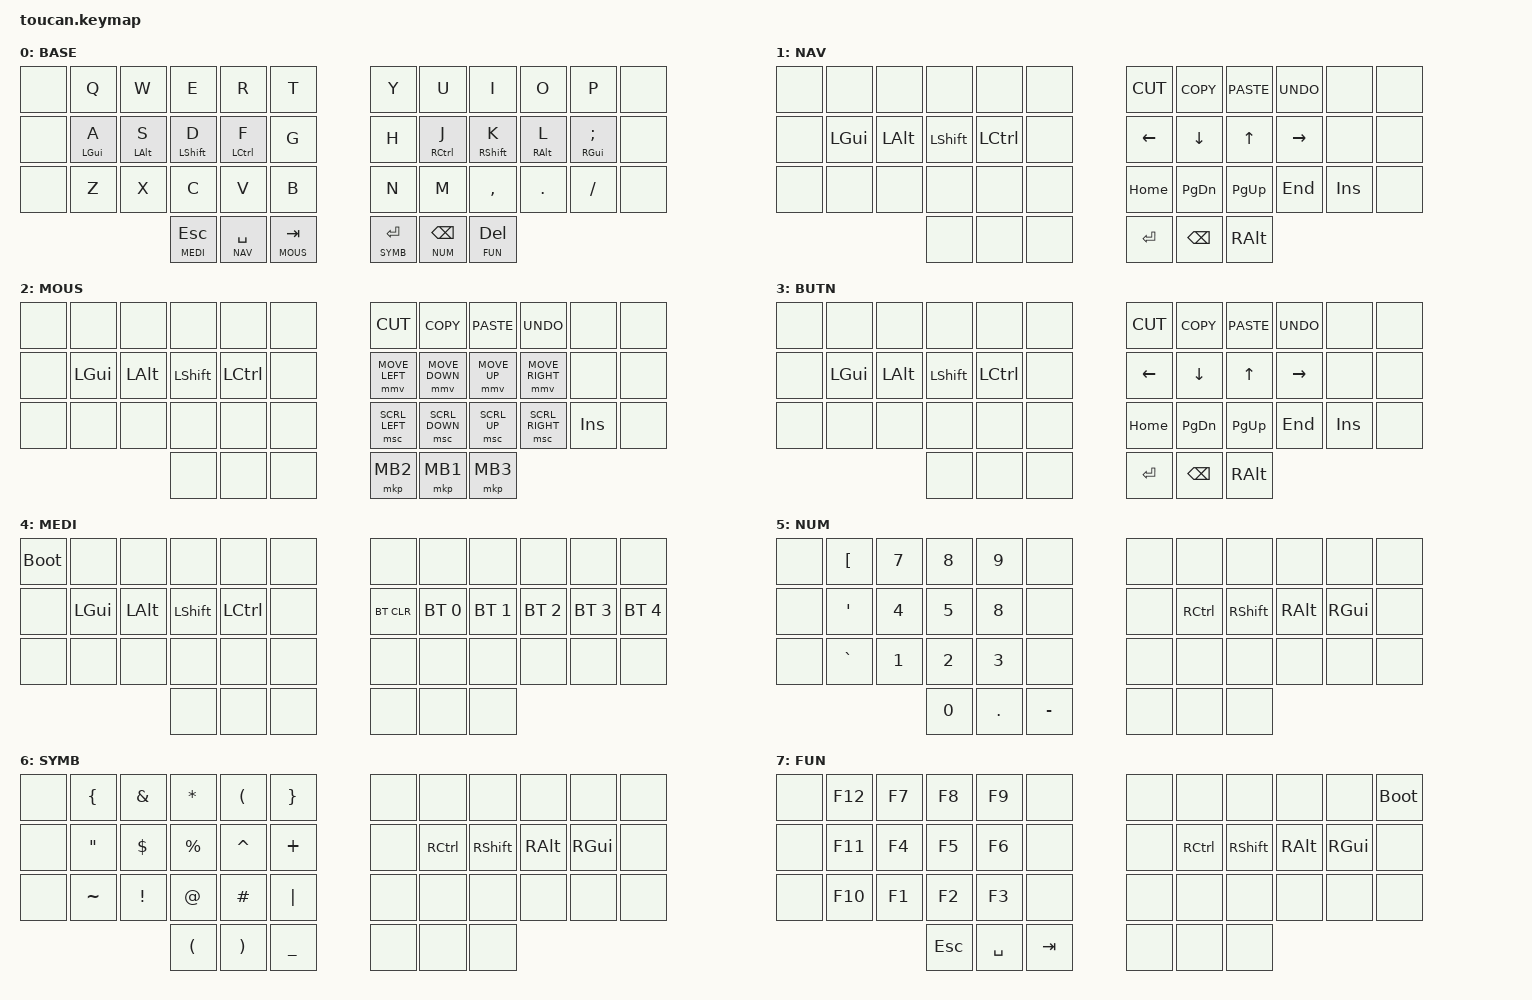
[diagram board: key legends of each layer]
#include <behaviors.dtsi>
#include <dt-bindings/zmk/keys.h>
#include <dt-bindings/zmk/bt.h>
#include <dt-bindings/zmk/outputs.h>
#include <dt-bindings/zmk/pointing.h>y

#define BASE 0
#define NAV  1
#define MOUS 2
#define BUTN 3
#define MEDI 4
#define NUM  5
#define SYMB 6
#define FUN  7

#define _______ &none

#define MY_AGUI &mt LGUI   A
#define MY_SALT &mt LALT   S
#define MY_DSFT &mt LSHIFT D
#define MY_FCTL &mt LCTRL  F

#define MY_JCTL &mt RCTRL  J
#define MY_KSFT &mt RSHIFT K
#define MY_LALT &mt RALT   L
#define MY_CGUI &mt RGUI   SEMICOLON

#define TG_MEDI &lt MEDI ESCAPE 
#define TG_NAV  &lt NAV  SPACE 
#define TG_MOUS &lt MOUS TAB 

#define TG_SYMB &lt SYMB ENTER 
#define TG_NUM  &lt NUM  BACKSPACE
#define TG_FUN  &lt FUN  DELETE 

#define TG_BUTN &lt BUTN KC_Z   

/ {
    conditional_layers {
        compatible = "zmk,conditional-layers";
        tri_layer {
            if-layers = <1 2>;
            then-layer = <3>;
        };
    };

    keymap {
        compatible = "zmk,keymap";

        base {
            display-name = "BASE";
            bindings = <
                _______  &kp   Q  &kp   W  &kp   E  &kp   R   &kp T        &kp Y   &kp   U  &kp     I  &kp   O  &kp    P  _______
                _______  MY_AGUI  MY_SALT  MY_DSFT  MY_FCTL   &kp G        &kp H   MY_JCTL    MY_KSFT  MY_LALT   MY_CGUI  _______
                _______  &kp   Z  &kp   X  &kp   C  &kp   V   &kp B        &kp N   &kp   M  &kp COMMA  &kp DOT  &kp FSLH  _______
                                           TG_MEDI  TG_NAV  TG_MOUS        TG_SYMB  TG_NUM     TG_FUN
            >;
        };

        nav {
            display-name = "NAV";
            bindings = <
                _______   _______   _______     _______    _______  _______        &kp K_CUT  &kp K_COPY  &kp K_PASTE  &kp K_UNDO  _______  _______
                _______  &kp LGUI  &kp LALT  &kp LSHIFT  &kp LCTRL  _______        &kp  LEFT  &kp   DOWN  &kp      UP  &kp  RIGHT  _______  _______
                _______   _______   _______     _______    _______  _______        &kp HOME   &kp  PG_DN  &kp   PG_UP  &kp    END  &kp INS  _______
                                                _______    _______  _______        &kp  RET   &kp   BSPC  &kp    RALT
            >;
        };

        mous {
            display-name = "MOUS";
            bindings = <
                _______   _______   _______     _______    _______  _______        &kp      K_CUT  &kp     K_COPY  &kp  K_PASTE       &kp K_UNDO  _______  _______
                _______  &kp LGUI  &kp LALT  &kp LSHIFT  &kp LCTRL  _______        &mmv MOVE_LEFT  &mmv MOVE_DOWN  &mmv MOVE_UP  &mmv MOVE_RIGHT  _______  _______
                _______   _______   _______     _______    _______  _______        &msc SCRL_LEFT  &msc SCRL_DOWN  &msc SCRL_UP  &msc SCRL_RIGHT  &kp INS  _______
                                                _______    _______  _______        &mkp       MB2  &mkp       MB1  &mkp     MB3
            >;
        };

        butn {
            display-name = "BUTN";
            bindings = <
                _______   _______   _______     _______    _______  _______        &kp K_CUT  &kp K_COPY  &kp K_PASTE  &kp K_UNDO  _______  _______
                _______  &kp LGUI  &kp LALT  &kp LSHIFT  &kp LCTRL  _______        &kp  LEFT  &kp   DOWN  &kp      UP  &kp  RIGHT  _______  _______
                _______   _______   _______     _______    _______  _______        &kp HOME   &kp  PG_DN  &kp   PG_UP  &kp    END  &kp INS  _______
                                                _______    _______  _______        &kp  RET   &kp   BSPC  &kp    RALT
            >;
        };

        medi {
            display-name = "MEDI";
            bindings = <
                &bootloader   _______   _______     _______    _______  _______           _______       _______       _______       _______        _______      _______
                    _______  &kp LGUI  &kp LALT  &kp LSHIFT  &kp LCTRL  _______        &bt BT_CLR  &bt BT_SEL 0  &bt BT_SEL 1  &bt BT_SEL 2  &bt BT_SEL 3  &bt BT_SEL 4
                    _______   _______   _______     _______    _______  _______           _______       _______       _______       _______        _______      _______
                                                    _______    _______  _______           _______       _______       _______
            >;
        };

        num {
            display-name = "NUM";
            bindings = <
                _______  &kp  LBKT  &kp N7  &kp N8  &kp  N9    _______       _______    _______     _______   _______   _______  _______
                _______  &kp   SQT  &kp N4  &kp N5  &kp  N8    _______       _______  &kp RCTRL  &kp RSHIFT  &kp RALT  &kp RGUI  _______
                _______  &kp GRAVE  &kp N1  &kp N2  &kp  N3    _______       _______    _______     _______   _______   _______  _______
                                            &kp N0  &kp DOT  &kp MINUS       _______    _______     _______
            >;
        };

        symb {
            display-name = "SYMB";
            bindings = <
                _______  &kp  LBRC  &kp AMPS  &kp ASTRK  &kp   LPAR  &kp  RBRC       _______    _______     _______   _______   _______  _______
                _______  &kp   DQT  &kp DLLR  &kp PRCNT  &kp CARET  &kp  PLUS       _______  &kp RCTRL  &kp RSHIFT  &kp RALT  &kp RGUI  _______
                _______  &kp TILDE  &kp EXCL  &kp    AT  &kp  HASH  &kp  PIPE       _______    _______     _______   _______   _______  _______
                                              &kp  LPAR  &kp  RPAR  &kp UNDER       _______    _______     _______
            >;
        };

        fun {
            display-name = "FUN";
            bindings = <
                _______  &kp F12  &kp F7  &kp     F8  &kp    F9  _______       _______    _______     _______   _______   _______  &bootloader
                _______  &kp F11  &kp F4  &kp     F5  &kp    F6  _______       _______  &kp RCTRL  &kp RSHIFT  &kp RALT  &kp RGUI  _______
                _______  &kp F10  &kp F1  &kp     F2  &kp    F3  _______       _______    _______     _______   _______   _______  _______
                                          &kp ESCAPE  &kp SPACE  &kp TAB       _______    _______     _______
            >;
        };
        extra_1 {
                status = "reserved";
        };

        extra_2 {
                status = "reserved";
        };

        extra_3 {
                status = "reserved";
        };
    };
};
